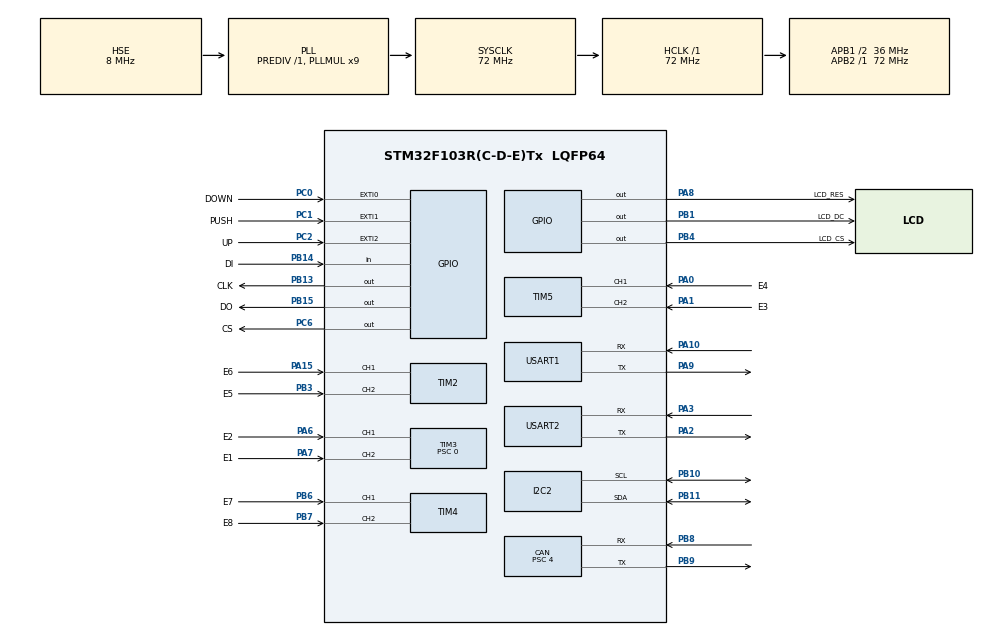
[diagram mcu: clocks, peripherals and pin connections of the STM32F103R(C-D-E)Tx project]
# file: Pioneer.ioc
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CAN.BS1=CAN_BS1_7TQ
CAN.CalculateBaudRate=1000000
CAN.CalculateTimeBit=1000
CAN.CalculateTimeQuantum=111.11111111111111
CAN.Prescaler=4
Mcu.Family=STM32F1
Mcu.Name=STM32F103R(C-D-E)Tx
Mcu.Package=LQFP64
NVIC.EXTI0_IRQn=true\:0\:0\:false\:false\:true\:true\:true\:true
NVIC.EXTI1_IRQn=true\:0\:0\:false\:false\:true\:true\:true\:true
NVIC.EXTI2_IRQn=true\:0\:0\:false\:false\:true\:true\:true\:true
NVIC.PriorityGroup=NVIC_PRIORITYGROUP_4
NVIC.TIM1_UP_IRQn=true\:0\:0\:false\:false\:true\:true\:true\:true
NVIC.TIM2_IRQn=true\:0\:0\:false\:false\:true\:true\:true\:true
NVIC.TIM3_IRQn=true\:0\:0\:false\:false\:true\:true\:true\:true
NVIC.TIM4_IRQn=true\:0\:0\:false\:false\:true\:true\:true\:true
NVIC.TIM5_IRQn=true\:0\:0\:false\:false\:true\:true\:true\:true
PA0-WKUP.GPIO_Label=E4
PA0-WKUP.Signal=S_TIM5_CH1
PA1.GPIO_Label=E3
PA1.Signal=S_TIM5_CH2
PA10.Mode=Asynchronous
PA10.Signal=USART1_RX
PA13.Mode=Serial_Wire
PA13.Signal=SYS_JTMS-SWDIO
PA14.Mode=Serial_Wire
PA14.Signal=SYS_JTCK-SWCLK
PA15.GPIO_Label=E6
PA15.Signal=S_TIM2_CH1_ETR
PA2.Mode=Asynchronous
PA2.Signal=USART2_TX
PA3.Mode=Asynchronous
PA3.Signal=USART2_RX
PA6.GPIO_Label=E2
PA6.Signal=S_TIM3_CH1
PA7.GPIO_Label=E1
PA7.Signal=S_TIM3_CH2
PA8.GPIO_Label=LCD_RES
PA8.Signal=GPIO_Output
PA9.Mode=Asynchronous
PA9.Signal=USART1_TX
PB1.GPIO_Label=LCD_DC
PB1.Signal=GPIO_Output
PB10.Mode=I2C
PB10.Signal=I2C2_SCL
PB11.Mode=I2C
PB11.Signal=I2C2_SDA
PB13.GPIO_Label=CLK
PB13.GPIO_ModeDefaultOutputPP=GPIO_MODE_OUTPUT_PP
PB13.GPIO_PuPd=GPIO_PULLUP
PB13.GPIO_Speed=GPIO_SPEED_FREQ_HIGH
PB13.PinState=GPIO_PIN_SET
PB13.Signal=GPIO_Output
PB14.GPIO_Label=DI
PB14.GPIO_Mode=GPIO_MODE_INPUT
PB14.GPIO_PuPd=GPIO_PULLUP
PB14.Signal=GPIO_Input
PB15.GPIO_Label=DO
PB15.GPIO_PuPd=GPIO_PULLDOWN
PB15.GPIO_Speed=GPIO_SPEED_FREQ_HIGH
PB15.Signal=GPIO_Output
PB3.GPIO_Label=E5
PB3.Signal=S_TIM2_CH2
PB4.GPIO_Label=LCD_CS
PB4.Signal=GPIO_Output
PB6.GPIO_Label=E7
PB6.Signal=S_TIM4_CH1
PB7.GPIO_Label=E8
PB7.Signal=S_TIM4_CH2
PB8.Mode=CAN_Activate
PB8.Signal=CAN_RX
PB9.Mode=CAN_Activate
PB9.Signal=CAN_TX
PC0.GPIO_Label=DOWN
PC0.Signal=GPXTI0
PC1.GPIO_Label=PUSH
PC1.Signal=GPXTI1
PC14-OSC32_IN.Mode=LSE-External-Oscillator
PC14-OSC32_IN.Signal=RCC_OSC32_IN
PC15-OSC32_OUT.Mode=LSE-External-Oscillator
PC15-OSC32_OUT.Signal=RCC_OSC32_OUT
PC2.GPIO_Label=UP
PC2.Signal=GPXTI2
PC6.GPIO_Label=CS
PC6.GPIO_ModeDefaultOutputPP=GPIO_MODE_OUTPUT_PP
PC6.GPIO_PuPd=GPIO_PULLUP
PC6.GPIO_Speed=GPIO_SPEED_FREQ_HIGH
PC6.PinState=GPIO_PIN_SET
PC6.Signal=GPIO_Output
PD0-OSC_IN.Mode=HSE-External-Oscillator
PD0-OSC_IN.Signal=RCC_OSC_IN
PD1-OSC_OUT.Mode=HSE-External-Oscillator
PD1-OSC_OUT.Signal=RCC_OSC_OUT
ProjectManager.HeapSize=0x200
ProjectManager.StackSize=0x400
ProjectManager.TargetToolchain=STM32CubeIDE
RCC.AHBFreq_Value=72000000
RCC.APB1CLKDivider=RCC_HCLK_DIV2
RCC.APB1Freq_Value=36000000
RCC.APB1TimFreq_Value=72000000
RCC.APB2Freq_Value=72000000
RCC.APB2TimFreq_Value=72000000
RCC.HCLKFreq_Value=72000000
RCC.PLLMUL=RCC_PLL_MUL9
RCC.PLLSourceVirtual=RCC_PLLSOURCE_HSE
RCC.SYSCLKFreq_VALUE=72000000
RCC.SYSCLKSource=RCC_SYSCLKSOURCE_PLLCLK
RCC.USBFreq_Value=72000000
SH.S_TIM2_CH1_ETR.0=TIM2_CH1,Encoder_Interface
SH.S_TIM2_CH2.0=TIM2_CH2,Encoder_Interface
SH.S_TIM3_CH1.0=TIM3_CH1,Encoder_Interface
SH.S_TIM3_CH2.0=TIM3_CH2,Encoder_Interface
SH.S_TIM4_CH1.0=TIM4_CH1,Encoder_Interface
SH.S_TIM4_CH2.0=TIM4_CH2,Encoder_Interface
SH.S_TIM5_CH1.0=TIM5_CH1,Encoder_Interface
SH.S_TIM5_CH2.0=TIM5_CH2,Encoder_Interface
TIM1.Period=999
TIM1.Prescaler=71
TIM2.EncoderMode=TIM_ENCODERMODE_TI12
TIM2.IC1Filter=10
TIM2.IC2Filter=10
TIM3.EncoderMode=TIM_ENCODERMODE_TI12
TIM3.IC1Filter=10
TIM3.IC2Filter=10
TIM3.Period=65535
TIM3.Prescaler=0
TIM4.EncoderMode=TIM_ENCODERMODE_TI12
TIM4.IC1Filter=10
TIM4.IC2Filter=10
TIM5.EncoderMode=TIM_ENCODERMODE_TI12
TIM5.IC1Filter=10
TIM5.IC2Filter=10
USART1.VirtualMode=VM_ASYNC
USART2.VirtualMode=VM_ASYNC
VP_TIM1_VS_ClockSourceINT.Mode=Internal
board=custom

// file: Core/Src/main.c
/* USER CODE BEGIN Header */
/**
  ******************************************************************************
  * @file           : main.c
  * @brief          : Main program body
  ******************************************************************************
  * @attention
  *
  * Copyright (c) 2023 STMicroelectronics.
  * All rights reserved.
  *
  * This software is licensed under terms that can be found in the LICENSE file
  * in the root directory of this software component.
  * If no LICENSE file comes with this software, it is provided AS-IS.
  *
  ******************************************************************************
  */
/* USER CODE END Header */
#include "main.h"
#include "can.h"
#include "i2c.h"
#include "tim.h"
#include "usart.h"
#include "gpio.h"

/* USER CODE BEGIN Includes */
#include "Display.h"
#include "Car.h"
#include "UART.h"
#include "PS2/pstwo.h"
/* Private includes ----------------------------------------------------------*/
/* USER CODE BEGIN Includes */
CarType PioneerCar;
uint8_t key = 0xff;
//   5
//8      6
//   7
/* USER CODE END Includes */

/* USER CODE BEGIN PV */
//extern DSC_Type *_DSC;
// uint8_t rawDSC[30] ="-118_0070_0083_0063_0171_-122#";

//MotionType PioneerCar;
/* USER CODE END PV */

void SystemClock_Config(void);

int main(void) {

	/* MCU Configuration--------------------------------------------------------*/

	/* Reset of all peripherals, Initializes the Flash interface and the Systick. */
	HAL_Init();

	/* Configure the system clock */
	SystemClock_Config();

	/* Initialize all configured peripherals */
	MX_GPIO_Init();
	MX_I2C2_Init();
	MX_TIM3_Init();
	MX_USART1_UART_Init();
	MX_TIM2_Init();
	MX_TIM4_Init();
	MX_TIM5_Init();
	MX_TIM1_Init();
	MX_CAN_Init();
	MX_USART2_UART_Init();
	/* USER CODE BEGIN 2 */

	CarInit(&PioneerCar, &htim4, &htim3, &htim2, &htim5);
	HAL_TIM_Base_Start_IT(&htim1);
	/* USER CODE END 2 */

	/* Infinite loop */
	/* USER CODE BEGIN WHILE */
	int curX,curY;
	while(PS2_RedLight()!=0){
		HAL_Delay(500);
	}
	while (1) {
		/* USER CODE END WHILE */

		/* USER CODE BEGIN 3 */
		key = PS2_DataKey();
//		if (key != 0)                   //有按键按�?
//		{
////			rt_kprintf("  \r\n   %d  is  pressed  \r\n", key);
//
//
//			if (key == 5) {
//				CarMoveRad(&PioneerCar, 0, 0.15);
//			} else if (key == 8) {
//				CarMoveRad(&PioneerCar, -PI / 2, 0.15);
//
//			} else if (key == 6) {
//				CarMoveRad(&PioneerCar, PI / 2, 0.15);
//
//			} else if(key==7){
//				CarMoveRad(&PioneerCar, PI, 0.15);
//
//			}else{
//				CarMoveRad(&PioneerCar, 0, 0);
//			};
//		}

//		rt_kprintf(" %5d %5d %5d %5d\r\n", PS2_AnologData(PSS_LX), PS2_AnologData(PSS_LY),
//		           PS2_AnologData(PSS_RX), PS2_AnologData(PSS_RY));
		curX=PS2_AnologData(PSS_RY);
		curY=PS2_AnologData(PSS_RX);
		CarMoveInt(&PioneerCar,127-curX,curY-128);
		HAL_Delay(50);
//		rt_kprintf(" %5d %5d %lf %lf\r\n", curX, curY,
//		           curAngel, curVelocity);
		/* USER CODE END WHILE */

		/* USER CODE BEGIN 3 */

//		CarMoveRad(&PioneerCar, PI/4, 0.15);
//		// MotionMoveInt(&PioneerCar,0,0);
//
//		HAL_Delay(100);

	}
	/* USER CODE END 3 */
}

void SystemClock_Config(void) {
	RCC_OscInitTypeDef RCC_OscInitStruct = {0};
	RCC_ClkInitTypeDef RCC_ClkInitStruct = {0};

	/** Initializes the RCC Oscillators according to the specified parameters
	* in the RCC_OscInitTypeDef structure.
	*/
	RCC_OscInitStruct.OscillatorType = RCC_OSCILLATORTYPE_HSE;
	RCC_OscInitStruct.HSEState = RCC_HSE_ON;
	RCC_OscInitStruct.HSEPredivValue = RCC_HSE_PREDIV_DIV1;
	RCC_OscInitStruct.HSIState = RCC_HSI_ON;
	RCC_OscInitStruct.PLL.PLLState = RCC_PLL_ON;
	RCC_OscInitStruct.PLL.PLLSource = RCC_PLLSOURCE_HSE;
	RCC_OscInitStruct.PLL.PLLMUL = RCC_PLL_MUL9;
	if (HAL_RCC_OscConfig(&RCC_OscInitStruct) != HAL_OK) {
		Error_Handler();
	}

	/** Initializes the CPU, AHB and APB buses clocks
	*/
	RCC_ClkInitStruct.ClockType = RCC_CLOCKTYPE_HCLK | RCC_CLOCKTYPE_SYSCLK
		| RCC_CLOCKTYPE_PCLK1 | RCC_CLOCKTYPE_PCLK2;
	RCC_ClkInitStruct.SYSCLKSource = RCC_SYSCLKSOURCE_PLLCLK;
	RCC_ClkInitStruct.AHBCLKDivider = RCC_SYSCLK_DIV1;
	RCC_ClkInitStruct.APB1CLKDivider = RCC_HCLK_DIV2;
	RCC_ClkInitStruct.APB2CLKDivider = RCC_HCLK_DIV1;

	if (HAL_RCC_ClockConfig(&RCC_ClkInitStruct, FLASH_LATENCY_2) != HAL_OK) {
		Error_Handler();
	}
}

/* USER CODE BEGIN 4 */
// void HAL_TIM_PeriodElapsedCallback(TIM_HandleTypeDef *htim)
// {
//   if (htim->Instance == TIM1)
//   {
//
//     MotionUpdate(&PioneerCar);
//     MotionMoveInt(&PioneerCar,DSC_DATA[LStickX],DSC_DATA[LStickY]);
//   }
// }

/* USER CODE END 4 */

void Error_Handler(void) {
	__disable_irq();
	while (1) {
	}
}
